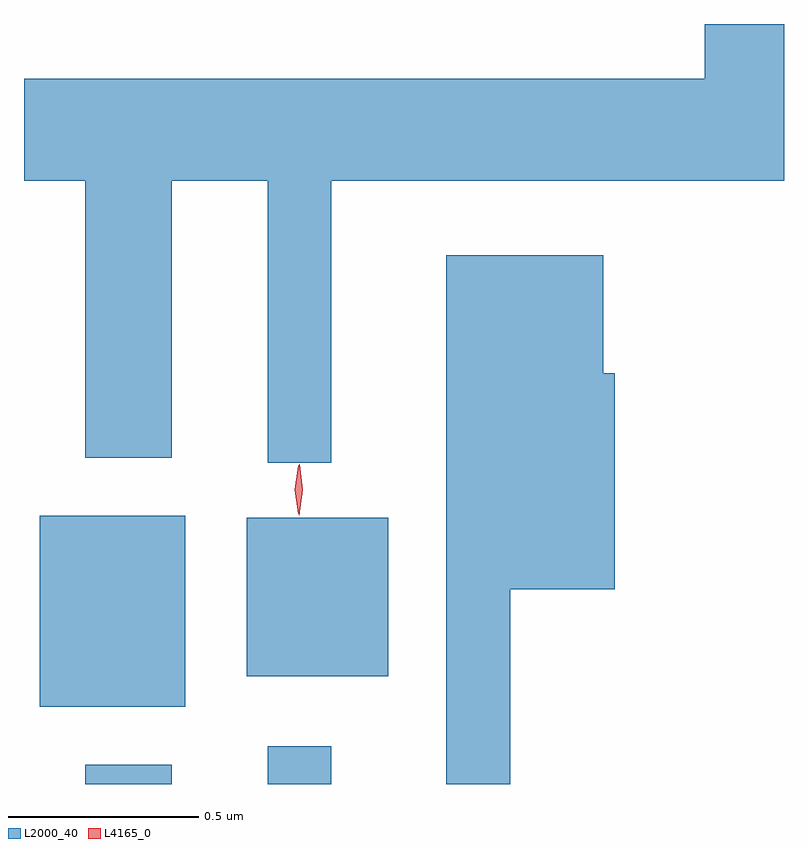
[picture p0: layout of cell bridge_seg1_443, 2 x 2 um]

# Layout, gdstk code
import gdstk
lib = gdstk.Library(unit=1e-6, precision=1e-09)
def R(c, l, rs):  # rectangles x0, y0, x1, y1
    for r in rs: c.add(gdstk.rectangle(r[:2], r[2:], *l))
def P(c, l, *ps):  # polygons
    for p in ps: c.add(gdstk.Polygon(p, *l))
L2000_40 = (2000, 40)
L4165_0 = (4165, 0)

bridge_seg1_443 = lib.new_cell('bridge_seg1_443')
R(bridge_seg1_443, L2000_40, [(408.011,882.448,408.239,882.499), (408.491,882.448,408.659,882.548), (407.891,882.651,408.274,883.154), (408.436,882.731,408.809,883.149)])
P(bridge_seg1_443, L2000_40, [(408.659,884.036),(409.85,884.036),(409.85,884.448),(409.641,884.448),(409.641,884.304),(407.85,884.304),(407.85,884.036),(408.011,884.036),(408.011,883.306),(408.239,883.306),(408.239,884.036),(408.491,884.036),(408.491,883.293),(408.659,883.293)],
  [(409.129,882.961),(409.404,882.961),(409.404,883.529),(409.374,883.529),(409.374,883.839),(408.961,883.839),(408.961,882.448),(409.129,882.448)])
P(bridge_seg1_443, L4165_0, [(408.574,883.154),(408.574,883.154),(408.564,883.222),(408.574,883.29),(408.575,883.29),(408.575,883.29),(408.584,883.222),(408.574,883.154)],
  [(408.573,883.158),(408.572,883.159),(408.563,883.222),(408.572,883.286),(408.573,883.287),(408.573,883.286),(408.583,883.222),(408.573,883.159)])

lib.write_gds('bridge_seg1_443.gds')
